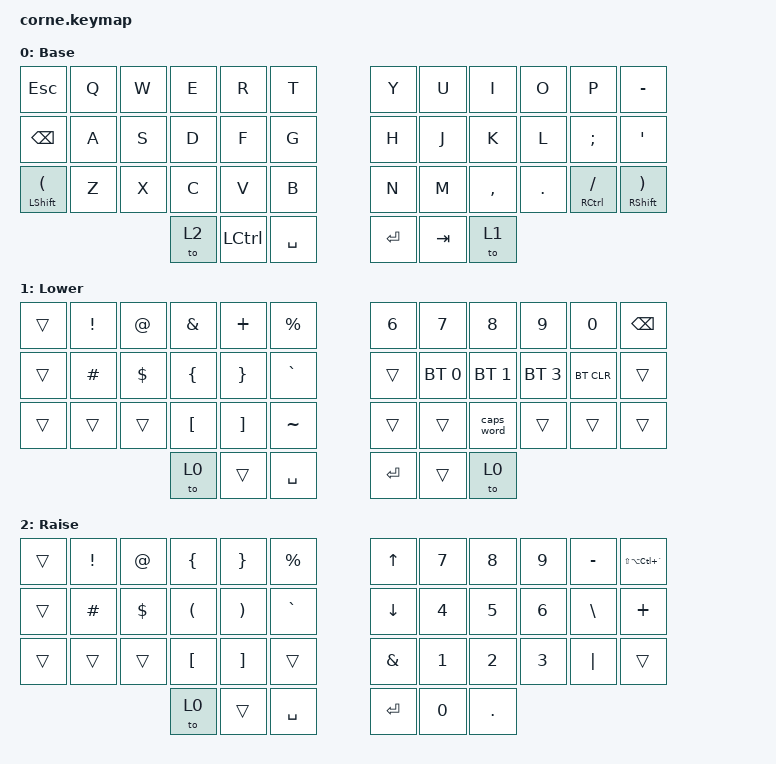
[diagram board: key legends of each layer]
/*
 * Copyright (c) 2020 The ZMK Contributors
 *
 * SPDX-License-Identifier: MIT
 */

#include <behaviors.dtsi>
#include <dt-bindings/zmk/bt.h>
#include <dt-bindings/zmk/keys.h>

/ {
    keymap {
        compatible = "zmk,keymap";

        default_layer {
            // -----------------------------------------------------------------------------------------
            // |  TAB |  Q  |  W  |  E  |  R  |  T  |   |  Y  |  U   |  I  |  O  |  P  | BKSP |
            // | CTRL |  A  |  S  |  D  |  F  |  G  |   |  H  |  J   |  K  |  L  |  ;  |  '   |
            // | SHFT |  Z  |  X  |  C  |  V  |  B  |   |  N  |  M   |  ,  |  .  |  /  | ESC  |
            //                    | GUI | LWR | SPC |   | ENT | RSE  | ALT |

            label = "Base";
            bindings = <
&kp ESCAPE                       &kp Q  &kp W  &kp E  &kp R      &kp T        &kp Y       &kp U    &kp I      &kp O    &kp P                    &kp MINUS
&kp BACKSPACE                    &kp A  &kp S  &kp D  &kp F      &kp G        &kp H       &kp J    &kp K      &kp L    &kp SEMI                 &kp SQT
&mt LEFT_SHIFT LEFT_PARENTHESIS  &kp Z  &kp X  &kp C  &kp V      &kp B        &kp N       &kp M    &kp COMMA  &kp DOT  &mt RIGHT_CONTROL SLASH  &mt RIGHT_SHIFT RIGHT_PARENTHESIS
                                               &to 2  &kp LCTRL  &kp SPACE    &kp RETURN  &kp TAB  &to 1
            >;
        };

        lower_layer {
            // -----------------------------------------------------------------------------------------
            // |  TAB |  1  |  2  |  3  |  4  |  5  |   |  6  |  7  |  8  |  9  |  0  | BKSP |
            // | BTCLR| BT1 | BT2 | BT3 | BT4 | BT5 |   | LFT | DWN |  UP | RGT |     |      |
            // | SHFT |     |     |     |     |     |   |     |     |     |     |     |      |
            //                    | GUI |     | SPC |   | ENT |     | ALT |

            label = "Lower";
            bindings = <
&trans  &kp EXCLAMATION  &kp AT_SIGN  &kp AMPERSAND     &kp PLUS         &kp PERCENT    &kp N6   &kp N7        &kp N8        &kp N9        &kp N0      &kp BACKSPACE
&trans  &kp HASH         &kp DOLLAR   &kp LEFT_BRACE    &kp RIGHT_BRACE  &kp GRAVE      &trans   &bt BT_SEL 0  &bt BT_SEL 1  &bt BT_SEL 3  &bt BT_CLR  &trans
&trans  &trans           &trans       &kp LEFT_BRACKET  &kp RBKT         &kp TILDE      &trans   &trans        &caps_word    &trans        &trans      &trans
                                      &to 0             &trans           &kp SPACE      &kp RET  &trans        &to 0
            >;
        };

        raise_layer {
            // -----------------------------------------------------------------------------------------
            // |  TAB |  !  |  @  |  #  |  $  |  %  |   |  ^  |  &  |  *  |  (  |  )  | BKSP |
            // | CTRL |     |     |     |     |     |   |  -  |  =  |  [  |  ]  |  \  |  `   |
            // | SHFT |     |     |     |     |     |   |  _  |  +  |  {  |  }  | "|" |  ~   |
            //                    | GUI |     | SPC |   | ENT |     | ALT |

            label = "Raise";
            bindings = <
&trans  &kp EXCL  &kp AT      &kp LEFT_BRACE        &kp RIGHT_BRACE    &kp PRCNT    &kp UP_ARROW   &kp N7        &kp N8        &kp N9        &kp MINUS  &kp LS(LA(LC(GRAVE)))
&trans  &kp HASH  &kp DOLLAR  &kp LEFT_PARENTHESIS  &kp RPAR           &kp GRAVE    &kp DOWN       &kp NUMBER_4  &kp N5        &kp NUMBER_6  &kp BSLH   &kp PLUS
&trans  &trans    &trans      &kp LEFT_BRACKET      &kp RIGHT_BRACKET  &trans       &kp AMPERSAND  &kp NUMBER_1  &kp NUMBER_2  &kp NUMBER_3  &kp PIPE   &trans
                              &to 0                 &trans             &kp SPACE    &kp RET        &kp N0        &kp DOT
            >;
        };
    };
};
